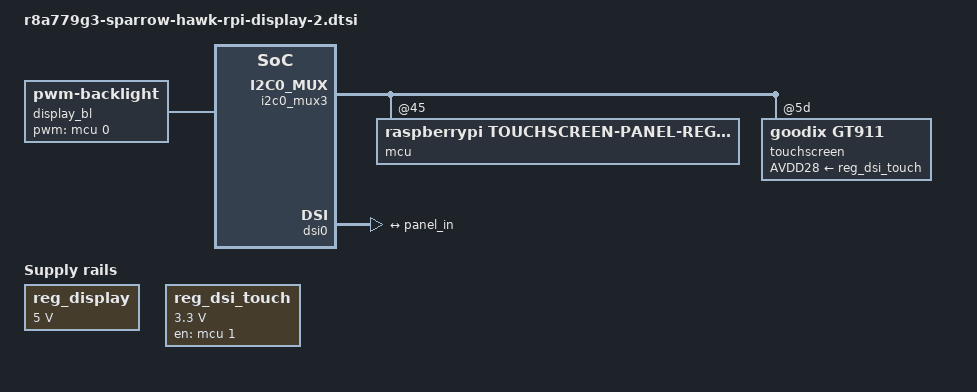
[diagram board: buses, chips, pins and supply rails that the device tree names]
// SPDX-License-Identifier: (GPL-2.0-only OR BSD-2-Clause)
/*
 * Device Tree Overlay for the RPi Display 2 MIPI DSI panel connected
 * to J4:DSI on R-Car V4H ES3.0 Sparrow Hawk board
 *
 * Copyright (C) 2025 Marek Vasut <marek.vasut+renesas@mailbox.org>
 */

/dts-v1/;
/plugin/;

#include <dt-bindings/gpio/gpio.h>

&{/} {
	display_bl: backlight {
		compatible = "pwm-backlight";
		pwms = <&mcu 0 255 0>;
	};

	reg_display: regulator-display {
		compatible = "regulator-fixed";
		regulator-name = "rpi-display";
		regulator-min-microvolt = <5000000>;
		regulator-max-microvolt = <5000000>;
	};

	reg_dsi_touch: regulator-dsi-touch {
		compatible = "regulator-fixed";
		gpio = <&mcu 1 GPIO_ACTIVE_HIGH>;
		regulator-name = "rpi-touch";
		regulator-min-microvolt = <3300000>;
		regulator-max-microvolt = <3300000>;
		startup-delay-us = <50000>;
		enable-active-high;
	};
};

&i2c0_mux3 {
	#address-cells = <1>;
	#size-cells = <0>;

	mcu: gpio@45 {
		compatible = "raspberrypi,touchscreen-panel-regulator-v2";
		reg = <0x45>;
		gpio-controller;
		#gpio-cells = <2>;
		#pwm-cells = <3>;
	};

	touchscreen@5d {
		compatible = "goodix,gt911";
		reg = <0x5d>;
		AVDD28-supply = <&reg_dsi_touch>;
		touchscreen-size-x = <720>;
		touchscreen-size-y = <1280>;
	};
};

&dsi0 {
	#address-cells = <1>;
	#size-cells = <0>;
	status = "okay";

	ports {
		#address-cells = <1>;
		#size-cells = <0>;

		port@1 {
			reg = <1>;

			dsi0_out: endpoint {
				remote-endpoint = <&panel_in>;
				data-lanes = <1 2>;
			};
		};
	};

	panel: panel@0 {
		reg = <0>;
		backlight = <&display_bl>;
		power-supply = <&reg_display>;
		reset-gpios = <&mcu 0 GPIO_ACTIVE_LOW>;

		port {
			panel_in: endpoint {
				remote-endpoint = <&dsi0_out>;
			};
		};
	};
};
